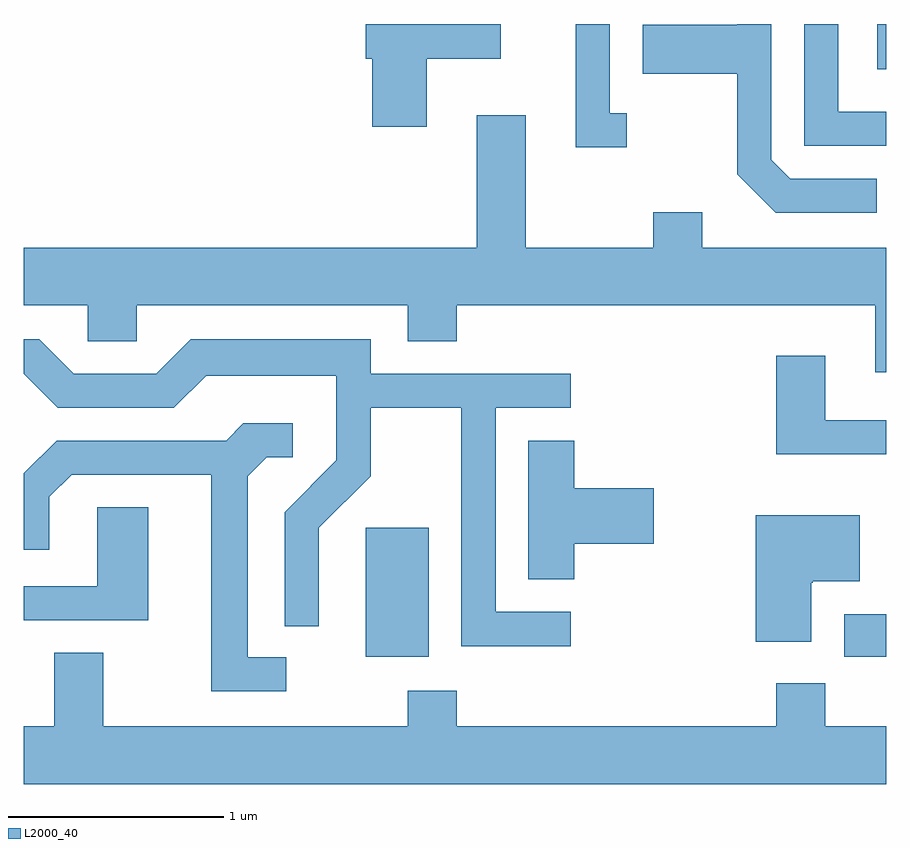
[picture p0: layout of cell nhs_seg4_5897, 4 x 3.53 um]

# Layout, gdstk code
import gdstk
lib = gdstk.Library(unit=1e-6, precision=1e-09)
def R(c, l, rs):  # rectangles x0, y0, x1, y1
    for r in rs: c.add(gdstk.rectangle(r[:2], r[2:], *l))
def P(c, l, *ps):  # polygons
    for p in ps: c.add(gdstk.Polygon(p, *l))
L2000_40 = (2000, 40)

nhs_seg4_5897 = lib.new_cell('nhs_seg4_5897')
R(nhs_seg4_5897, L2000_40, [(359.196,1353.046,359.489,1353.644), (361.416,1353.046,361.611,1353.244), (361.571,1355.771,361.611,1355.982)])
P(nhs_seg4_5897, L2000_40, [(359.479,1355.821),(359.824,1355.821),(359.824,1355.982),(359.196,1355.982),(359.196,1355.821),(359.226,1355.821),(359.226,1355.506),(359.479,1355.506)],
  [(361.568,1355.264),(361.167,1355.264),(361.079,1355.352),(361.079,1355.982),(360.921,1355.982),(360.921,1355.979),(360.481,1355.979),(360.481,1355.751),(360.921,1355.751),(360.921,1355.284),(361.099,1355.106),(361.568,1355.106)],
  [(360.408,1355.569),(360.329,1355.569),(360.329,1355.982),(360.171,1355.982),(360.171,1355.411),(360.408,1355.411)],
  [(361.611,1355.574),(361.389,1355.574),(361.389,1355.982),(361.231,1355.982),(361.231,1355.416),(361.611,1355.416)],
  [(361.611,1354.944),(360.759,1354.944),(360.759,1355.109),(360.531,1355.109),(360.531,1354.944),(359.939,1354.944),(359.939,1355.559),(359.711,1355.559),(359.711,1354.944),(357.611,1354.944),(357.611,1354.676),(357.906,1354.676),(357.906,1354.511),(358.134,1354.511),(358.134,1354.676),(359.391,1354.676),(359.391,1354.511),(359.619,1354.511),(359.619,1354.676),(361.561,1354.676),(361.561,1354.366),(361.611,1354.366)],
  [(360.148,1353.254),(359.799,1353.254),(359.799,1354.201),(360.148,1354.201),(360.148,1354.359),(359.219,1354.359),(359.219,1354.519),(358.384,1354.519),(358.224,1354.359),(357.842,1354.359),(357.682,1354.519),(357.611,1354.519),(357.611,1354.359),(357.769,1354.201),(358.307,1354.201),(358.457,1354.351),(359.061,1354.351),(359.061,1353.957),(358.821,1353.717),(358.821,1353.188),(358.979,1353.188),(358.979,1353.644),(359.219,1353.884),(359.219,1354.201),(359.641,1354.201),(359.641,1353.096),(360.148,1353.096)],
  [(361.611,1354.144),(361.329,1354.144),(361.329,1354.444),(361.101,1354.444),(361.101,1353.986),(361.611,1353.986)],
  [(358.828,1353.044),(358.649,1353.044),(358.649,1353.884),(358.737,1353.971),(358.858,1353.971),(358.858,1354.129),(358.629,1354.129),(358.549,1354.049),(357.764,1354.049),(357.611,1353.897),(357.611,1353.543),(357.729,1353.543),(357.729,1353.789),(357.832,1353.891),(358.481,1353.891),(358.481,1352.886),(358.828,1352.886)],
  [(360.164,1353.571),(360.534,1353.571),(360.534,1353.829),(360.164,1353.829),(360.164,1354.049),(359.951,1354.049),(359.951,1353.406),(360.164,1353.406)],
  [(358.189,1353.739),(357.951,1353.739),(357.951,1353.374),(357.611,1353.374),(357.611,1353.216),(358.189,1353.216)],
  [(361.264,1353.39),(361.27,1353.39),(361.27,1353.396),(361.489,1353.396),(361.489,1353.704),(361.006,1353.704),(361.006,1353.116),(361.264,1353.116)],
  [(357.751,1353.064),(357.751,1352.724),(357.611,1352.724),(357.611,1352.456),(361.611,1352.456),(361.611,1352.724),(361.329,1352.724),(361.329,1352.924),(361.101,1352.924),(361.101,1352.724),(359.619,1352.724),(359.619,1352.889),(359.391,1352.889),(359.391,1352.724),(357.979,1352.724),(357.979,1353.064)])

lib.write_gds('nhs_seg4_5897.gds')
